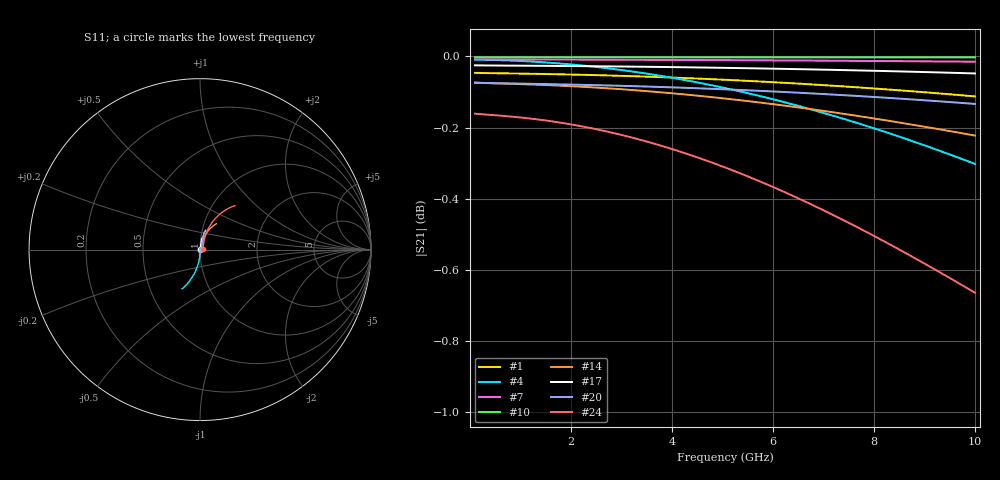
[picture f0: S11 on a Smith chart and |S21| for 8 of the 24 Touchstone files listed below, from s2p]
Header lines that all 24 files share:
# Hz S RI R 50.00
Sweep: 100 MHz to 10 GHz
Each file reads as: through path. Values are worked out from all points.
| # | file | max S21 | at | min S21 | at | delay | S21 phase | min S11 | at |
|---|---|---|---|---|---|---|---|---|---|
| 1 | 1.s2p | -0.05 dB | 100 MHz | -0.1 dB | 10 GHz | 3.75 ps | -7 deg at 5.1 GHz | -45.3 dB | 100 MHz |
| 2 | 2.s2p | -0.03 dB | 100 MHz | -0.1 dB | 10 GHz | 7.48 ps | -14 deg at 5.1 GHz | -48.9 dB | 100 MHz |
| 3 | 3.s2p | 0.00 dB | 100 MHz | 0.0 dB | 10 GHz | - | -2 deg at 5.1 GHz | -69.7 dB | 100 MHz |
| 4 | 4.s2p | -0.01 dB | 100 MHz | -0.3 dB | 10 GHz | 6.9 ps | -13 deg at 5.1 GHz | -50.9 dB | 100 MHz |
| 5 | 5.s2p | -0.01 dB | 100 MHz | 0.0 dB | 10 GHz | 2.21 ps | -4 deg at 5.1 GHz | -57.5 dB | 100 MHz |
| 6 | 7.s2p | -0.01 dB | 100 MHz | -0.2 dB | 10 GHz | 8.9 ps | -16 deg at 5.1 GHz | -53.8 dB | 100 MHz |
| 7 | 10.s2p | -0.01 dB | 100 MHz | 0.0 dB | 10 GHz | 2.15 ps | -4 deg at 5.1 GHz | -60.0 dB | 100 MHz |
| 8 | 11.s2p | -0.04 dB | 100 MHz | -0.1 dB | 10 GHz | 9.19 ps | -17 deg at 5.1 GHz | -46.9 dB | 100 MHz |
| 9 | 14.s2p | -0.05 dB | 100 MHz | -0.1 dB | 10 GHz | 2.41 ps | -4 deg at 5.1 GHz | -44.5 dB | 100 MHz |
| 10 | 15.s2p | 0.00 dB | 100 MHz | 0.0 dB | 10 GHz | - | -0 deg at 5.1 GHz | -71.2 dB | 100 MHz |
| 11 | 17.s2p | -0.08 dB | 100 MHz | -0.2 dB | 10 GHz | 8.93 ps | -17 deg at 5.1 GHz | -41.0 dB | 100 MHz |
| 12 | 21.s2p | -0.99 dB | 100 MHz | -1.9 dB | 10 GHz | 9.12 ps | -18 deg at 5.1 GHz | -19.4 dB | 100 MHz |
| 13 | 22.s2p | -0.04 dB | 100 MHz | -0.1 dB | 10 GHz | 7.32 ps | -13 deg at 5.1 GHz | -46.5 dB | 100 MHz |
| 14 | 25.s2p | -0.07 dB | 100 MHz | -0.2 dB | 10 GHz | 8.22 ps | -15 deg at 5.1 GHz | -41.2 dB | 100 MHz |
| 15 | 26.s2p | -0.01 dB | 100 MHz | 0.0 dB | 10 GHz | 4.03 ps | -7 deg at 5.1 GHz | -57.4 dB | 100 MHz |
| 16 | 27.s2p | -0.19 dB | 100 MHz | -1.0 dB | 10 GHz | 9.87 ps | -19 deg at 5.1 GHz | -33.2 dB | 100 MHz |
| 17 | 28.s2p | -0.03 dB | 100 MHz | 0.0 dB | 10 GHz | - | -4 deg at 5.1 GHz | -50.6 dB | 100 MHz |
| 18 | 29.s2p | -0.29 dB | 100 MHz | -0.7 dB | 10 GHz | 6.52 ps | -12 deg at 5.1 GHz | -29.6 dB | 100 MHz |
| 19 | 30.s2p | 0.00 dB | 100 MHz | 0.0 dB | 10 GHz | - | -0 deg at 5.1 GHz | -82.7 dB | 100 MHz |
| 20 | 31.s2p | -0.07 dB | 100 MHz | -0.1 dB | 10 GHz | 2.66 ps | -5 deg at 5.1 GHz | -41.4 dB | 100 MHz |
| 21 | 35.s2p | -0.33 dB | 100 MHz | -1.2 dB | 10 GHz | 10 ps | -19 deg at 5.1 GHz | -28.4 dB | 100 MHz |
| 22 | 36.s2p | -0.08 dB | 100 MHz | -0.6 dB | 10 GHz | 10.1 ps | -19 deg at 5.1 GHz | -40.4 dB | 100 MHz |
| 23 | 38.s2p | 0.00 dB | 100 MHz | 0.0 dB | 10 GHz | - | -2 deg at 5.1 GHz | -70.9 dB | 100 MHz |
| 24 | 40.s2p | -0.16 dB | 100 MHz | -0.7 dB | 10 GHz | 9.85 ps | -19 deg at 5.1 GHz | -34.6 dB | 100 MHz |
